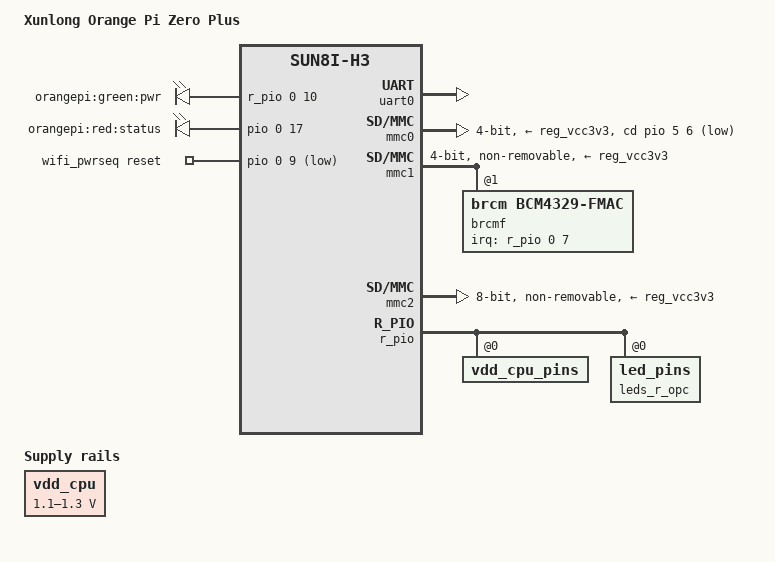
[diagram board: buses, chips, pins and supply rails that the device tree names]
/*
 * Copyright (C) 2017 Daniel Palmer <daniel@0x0f.com>
 *
 * This file is dual-licensed: you can use it either under the terms
 * of the GPL or the X11 license, at your option. Note that this dual
 * licensing only applies to this file, and not this project as a
 * whole.
 *
 *  a) This file is free software; you can redistribute it and/or
 *     modify it under the terms of the GNU General Public License as
 *     published by the Free Software Foundation; either version 2 of the
 *     License, or (at your option) any later version.
 *
 *     This file is distributed in the hope that it will be useful,
 *     but WITHOUT ANY WARRANTY; without even the implied warranty of
 *     MERCHANTABILITY or FITNESS FOR A PARTICULAR PURPOSE.  See the
 *     GNU General Public License for more details.
 *
 * Or, alternatively,
 *
 *  b) Permission is hereby granted, free of charge, to any person
 *     obtaining a copy of this software and associated documentation
 *     files (the "Software"), to deal in the Software without
 *     restriction, including without limitation the rights to use,
 *     copy, modify, merge, publish, distribute, sublicense, and/or
 *     sell copies of the Software, and to permit persons to whom the
 *     Software is furnished to do so, subject to the following
 *     conditions:
 *
 *     The above copyright notice and this permission notice shall be
 *     included in all copies or substantial portions of the Software.
 *
 *     THE SOFTWARE IS PROVIDED "AS IS", WITHOUT WARRANTY OF ANY KIND,
 *     EXPRESS OR IMPLIED, INCLUDING BUT NOT LIMITED TO THE WARRANTIES
 *     OF MERCHANTABILITY, FITNESS FOR A PARTICULAR PURPOSE AND
 *     NONINFRINGEMENT. IN NO EVENT SHALL THE AUTHORS OR COPYRIGHT
 *     HOLDERS BE LIABLE FOR ANY CLAIM, DAMAGES OR OTHER LIABILITY,
 *     WHETHER IN AN ACTION OF CONTRACT, TORT OR OTHERWISE, ARISING
 *     FROM, OUT OF OR IN CONNECTION WITH THE SOFTWARE OR THE USE OR
 *     OTHER DEALINGS IN THE SOFTWARE.
 */

/dts-v1/;
#include "sun8i-h3.dtsi"
#include "sunxi-common-regulators.dtsi"

#include <dt-bindings/gpio/gpio.h>
#include <dt-bindings/input/input.h>
#include <dt-bindings/pinctrl/sun4i-a10.h>
#include <dt-bindings/thermal/thermal.h>

/ {
	model = "Xunlong Orange Pi Zero Plus";
	compatible = "xunlong,orangepi-zero", "allwinner,sun8i-h3";

	aliases {
		serial0 = &uart0;
	};

	chosen {
		stdout-path = "serial0:115200n8";
		bootargs = "console=ttyS0,115200y quiet";
	};

	vdd_cpu: vdd_cpu {
		compatible = "regulator-gpio";
		pinctrl-names = "default";
		pinctrl-0 = <&vdd_cpu_pins>;
		regulator-name = "cpu-core";
		regulator-min-microvolt = <1100000>;
		regulator-max-microvolt = <1300000>;
		regulator-boot-on;
		regulator-always-on;
		gpios = <&r_pio 0 6 GPIO_ACTIVE_HIGH>;
		//enable-gpio = <&r_pio 0 8 GPIO_ACTIVE_HIGH>;
		states = <1300000 0x1
			1100000 0x0>;

		startup-delay-us = <100000>;
		enable-active-high;
	};

	leds {
		compatible = "gpio-leds";
		pinctrl-names = "default";
		pinctrl-0 = <&leds_opc>, <&leds_r_opc>;

		pwr_led {
			label = "orangepi:green:pwr";
			gpios = <&r_pio 0 10 GPIO_ACTIVE_HIGH>;
			default-state = "on";
			panic-indicator;
		};

		status_led {
			label = "orangepi:red:status";
			gpios = <&pio 0 17 GPIO_ACTIVE_HIGH>;
			linux,default_trigger = "heartbeat";
			default-state = "off";
		};
	};

	wifi_pwrseq: wifi_pwrseq {
		compatible = "mmc-pwrseq-simple";
		pinctrl-names = "default";
		pinctrl-0 = <&wifi_en_pin>;
		reset-gpios = <&pio 0 9 GPIO_ACTIVE_LOW>; /* PA9 */
		post-power-on-delay-ms = <50>;
	};
};

&cpu0 {
        operating-points = <
		/* kHz    uV */
		1008000 1300000
		960000  1300000
		816000  1100000
		648000  1100000
		480000  1100000
		408000  1100000
		240000  1100000
		120000  1100000
	>;
	#cooling-cells = <2>;
	cooling-min-level = <0>;
	cooling-max-level = <8>;
	cpu0-supply = <&vdd_cpu>;
};

&uart0 {
	pinctrl-names = "default";
	pinctrl-0 = <&uart0_pins_a>;
	status = "okay";
};

&mmc0 {
	pinctrl-names = "default";
	pinctrl-0 = <&mmc0_pins_a>, <&mmc0_cd_pin>;
	vmmc-supply = <&reg_vcc3v3>;
	bus-width = <4>;
	cd-gpios = <&pio 5 6 GPIO_ACTIVE_HIGH>; /* PF6 */
	cd-inverted;
	status = "okay";
};

&mmc1 {
	pinctrl-names = "default";
	pinctrl-0 = <&mmc1_pins_a>;
	vmmc-supply = <&reg_vcc3v3>;
	vqmmc-supply = <&reg_vcc3v3>;
	mmc-pwrseq = <&wifi_pwrseq>;
	bus-width = <4>;
	non-removable;
	status = "okay";

	brcmf: brcmf@1 {
		reg = <1>;
		compatible = "brcm,bcm4329-fmac";
		interrupt-parent = <&r_pio>;
		interrupts = <0 7 IRQ_TYPE_LEVEL_LOW>; /* PL7 / EINT7 */
		interrupt-names = "host-wake";
	};
};

&mmc2 {
	pinctrl-names = "default";
	pinctrl-0 = <&mmc2_8bit_pins>;
	vmmc-supply = <&reg_vcc3v3>;
	vqmmc-supply = <&reg_vcc3v3>;
	bus-width = <8>;
	non-removable;
	status = "okay";
};

&pio {
	leds_opc: led_pins@0 {
		allwinner,pins = "PA17";
		allwinner,function = "gpio_out";
		allwinner,drive = <SUN4I_PINCTRL_10_MA>;
		allwinner,pull = <SUN4I_PINCTRL_NO_PULL>;
	};
	wifi_en_pin: wifi_en_pin@0 {
		allwinner,pins = "PA9";
		allwinner,function = "gpio_out";
		allwinner,drive = <SUN4I_PINCTRL_10_MA>;
		allwinner,pull = <SUN4I_PINCTRL_NO_PULL>;
	};
};

&r_pio {
	vdd_cpu_pins: vdd_cpu_pins@0 {
		allwinner,pins = "PL6";
		allwinner,function = "gpio_out";
		allwinner,drive = <SUN4I_PINCTRL_10_MA>;
		allwinner,pull = <SUN4I_PINCTRL_NO_PULL>;
	};

        leds_r_opc: led_pins@0 {
                allwinner,pins = "PL10";
                allwinner,function = "gpio_out";
                allwinner,drive = <SUN4I_PINCTRL_10_MA>;
                allwinner,pull = <SUN4I_PINCTRL_NO_PULL>;
        };
};
